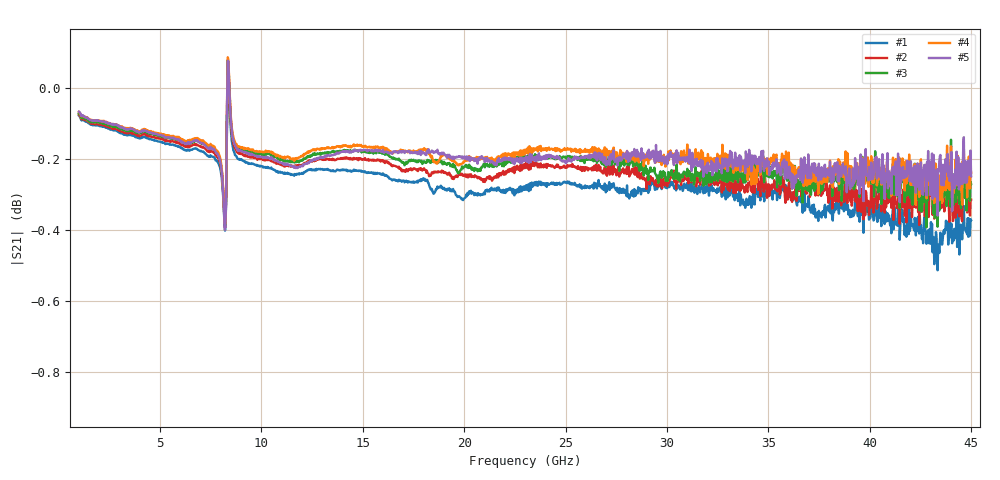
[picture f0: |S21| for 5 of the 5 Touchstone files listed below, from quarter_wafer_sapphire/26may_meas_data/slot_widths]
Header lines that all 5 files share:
!Keysight Technologies,N5247B,MY61255062,A.19.80.06
!Correction: S11(C  2-Port  )
!S21(C  2-Port  )
!S12(C  2-Port  )
!S22(C  2-Port  )
!S2P File: Measurements: S11, S21, S12, S22:
# Hz S  dB  R 50
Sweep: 1 GHz to 45 GHz
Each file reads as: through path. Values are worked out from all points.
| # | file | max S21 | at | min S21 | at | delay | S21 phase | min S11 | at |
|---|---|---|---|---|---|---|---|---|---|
| 1 | 16.5.s2p | 0.03 dB | 8.342 GHz | -0.5 dB | 43.35 GHz | 18.9 ps | -157 deg at 23 GHz | -73.8 dB | 30.56 GHz |
| 2 | 18.5.s2p | 0.06 dB | 8.342 GHz | -0.4 dB | 8.205 GHz | 18.7 ps | -155 deg at 23 GHz | -54.3 dB | 28.09 GHz |
| 3 | 20.5.s2p | 0.08 dB | 8.342 GHz | -0.4 dB | 42.8 GHz | 18.7 ps | -155 deg at 23 GHz | -65.8 dB | 28.91 GHz |
| 4 | 22.5.s2p | 0.09 dB | 8.342 GHz | -0.4 dB | 8.205 GHz | 18.6 ps | -154 deg at 23 GHz | -65.5 dB | 29.05 GHz |
| 5 | 25.5.s2p | 0.08 dB | 8.342 GHz | -0.4 dB | 8.205 GHz | 18.6 ps | -154 deg at 23 GHz | -51.7 dB | 29.52 GHz |
